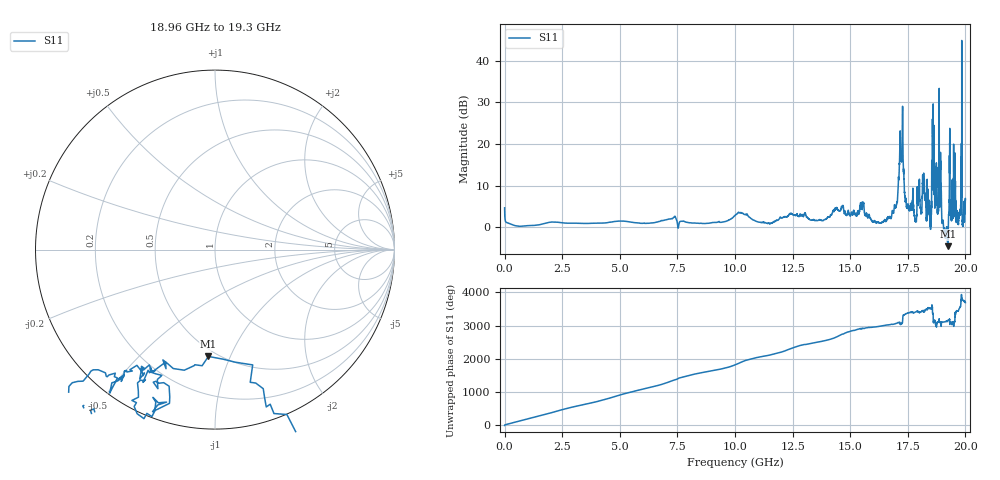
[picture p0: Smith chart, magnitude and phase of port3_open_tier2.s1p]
! Created with skrf 1.8.0 (http://scikit-rf.org).
# GHz S RI R 50.0
!freq ReS11 ImS11
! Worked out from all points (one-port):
!   10001 points, 1 MHz to 20 GHz, reference 50 ohm
!   lowest |S11| = -4.5 dB at 19.24 GHz (marker M1), VSWR 3.95, Z = 22.5 - j41.6 ohm
!   |S11| at or under -10 dB: nowhere
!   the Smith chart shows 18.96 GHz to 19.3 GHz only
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0.001  1.688 -0.3249
0.8969552  -1.023 0.2135
1.940903  1.147 -0.1028
2.500875  -0.3066 1.095
4.104795  1.122 0.107
5.00075  -1.183 -0.1454
5.900705  1.092 -0.2582
6.556672  -0.1218 1.146
7.500625  0.674 -0.8966
8.918554  -1.119 -0.1555
10.0005  1.347 0.3623
10.52647  -1.374 0.4148
11.82841  1.203 0.1396
12.50038  -1.386 0.3562
13.07435  0.0499 -1.415
14.28629  -0.3271 1.514
15.00025  0.8291 -1.1
15.76821  0.6022 1.148
16.96215  -1.727 0.0379
17.17214  -12.08 3.765
17.37413  -0.2843 2.288
17.50013  -1.435 1.202
18.16609  -3.544 -1.321
18.34208  -2.273 -3.016
19.23804  -0.0368 -0.5951
19.70401  -0.9021 -0.7596
19.906  -1.07 0.2583
20  -0.1931 2.145
